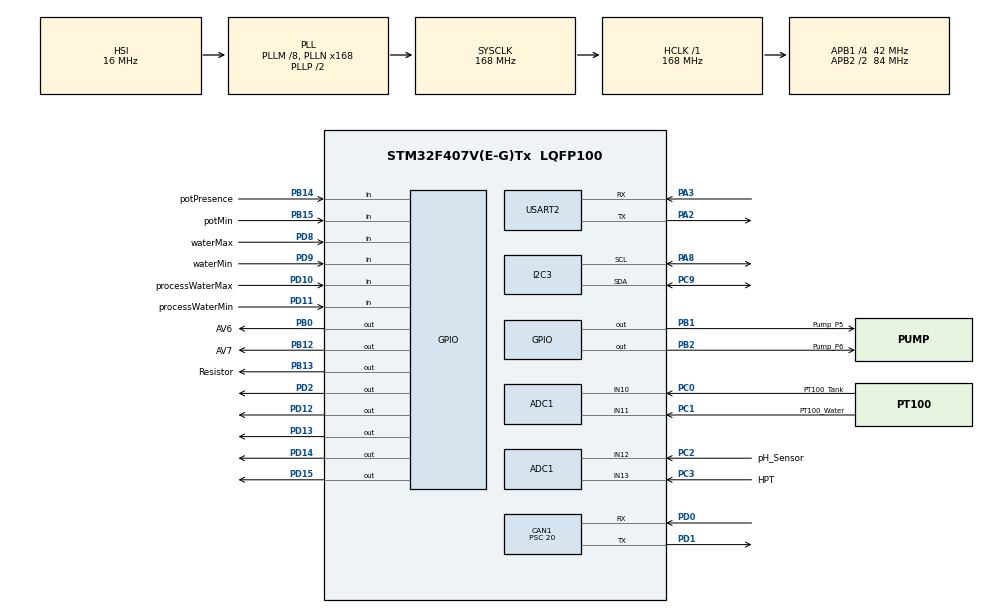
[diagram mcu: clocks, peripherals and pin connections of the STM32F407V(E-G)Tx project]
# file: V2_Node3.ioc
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ADC1.Channel-0\#ChannelRegularConversion=ADC_CHANNEL_10
ADC1.Channel-1\#ChannelRegularConversion=ADC_CHANNEL_11
ADC1.Channel-2\#ChannelRegularConversion=ADC_CHANNEL_12
ADC1.Channel-3\#ChannelRegularConversion=ADC_CHANNEL_13
ADC1.ContinuousConvMode=ENABLE
ADC1.DMAContinuousRequests=ENABLE
ADC1.EOCSelection=ADC_EOC_SEQ_CONV
ADC1.NbrOfConversion=4
ADC1.NbrOfConversionFlag=1
ADC1.Rank-0\#ChannelRegularConversion=1
ADC1.Rank-1\#ChannelRegularConversion=2
ADC1.Rank-2\#ChannelRegularConversion=3
ADC1.Rank-3\#ChannelRegularConversion=4
ADC1.SamplingTime-0\#ChannelRegularConversion=ADC_SAMPLETIME_3CYCLES
ADC1.SamplingTime-1\#ChannelRegularConversion=ADC_SAMPLETIME_3CYCLES
ADC1.SamplingTime-2\#ChannelRegularConversion=ADC_SAMPLETIME_3CYCLES
ADC1.SamplingTime-3\#ChannelRegularConversion=ADC_SAMPLETIME_3CYCLES
ADC1.master=1
CAN1.BS1=CAN_BS1_12TQ
CAN1.BS2=CAN_BS2_2TQ
CAN1.CalculateBaudRate=140000
CAN1.CalculateTimeBit=7142
CAN1.CalculateTimeQuantum=476.1904761904762
CAN1.Prescaler=20
Dma.ADC1.0.Direction=DMA_PERIPH_TO_MEMORY
Dma.ADC1.0.FIFOMode=DMA_FIFOMODE_DISABLE
Dma.ADC1.0.Instance=DMA2_Stream0
Dma.ADC1.0.MemDataAlignment=DMA_MDATAALIGN_HALFWORD
Dma.ADC1.0.MemInc=DMA_MINC_ENABLE
Dma.ADC1.0.Mode=DMA_CIRCULAR
Dma.ADC1.0.PeriphDataAlignment=DMA_PDATAALIGN_HALFWORD
Dma.ADC1.0.PeriphInc=DMA_PINC_DISABLE
Dma.ADC1.0.Priority=DMA_PRIORITY_LOW
Dma.Request0=ADC1
Mcu.Family=STM32F4
Mcu.Name=STM32F407V(E-G)Tx
Mcu.Package=LQFP100
NVIC.CAN1_RX0_IRQn=true\:0\:0\:false\:false\:true\:true\:true\:true
NVIC.DMA2_Stream0_IRQn=true\:0\:0\:false\:false\:true\:false\:true\:true
NVIC.PriorityGroup=NVIC_PRIORITYGROUP_4
NVIC.TIM6_DAC_IRQn=true\:0\:0\:false\:false\:true\:false\:true\:true
NVIC.TimeBase=TIM6_DAC_IRQn
NVIC.TimeBaseIP=TIM6
NVIC.USART2_IRQn=true\:0\:0\:false\:false\:true\:true\:true\:true
PA2.Mode=Asynchronous
PA2.Signal=USART2_TX
PA3.Mode=Asynchronous
PA3.Signal=USART2_RX
PA8.Mode=I2C
PA8.Signal=I2C3_SCL
PB0.GPIO_Label=AV6
PB0.Signal=GPIO_Output
PB1.GPIO_Label=Pump_P5
PB1.Signal=GPIO_Output
PB12.GPIO_Label=AV7
PB12.Signal=GPIO_Output
PB13.GPIO_Label=Resistor
PB13.Signal=GPIO_Output
PB14.GPIO_Label=potPresence
PB14.GPIO_PuPd=GPIO_PULLDOWN
PB14.Signal=GPIO_Input
PB15.GPIO_Label=potMin
PB15.GPIO_PuPd=GPIO_PULLDOWN
PB15.Signal=GPIO_Input
PB2.GPIO_Label=Pump_P6
PB2.Signal=GPIO_Output
PC0.GPIO_Label=PT100_Tank
PC0.Signal=ADCx_IN10
PC1.GPIO_Label=PT100_Water
PC1.Signal=ADCx_IN11
PC2.GPIO_Label=pH_Sensor
PC2.Signal=ADCx_IN12
PC3.GPIO_Label=HPT
PC3.Signal=ADCx_IN13
PC9.Mode=I2C
PC9.Signal=I2C3_SDA
PD0.Mode=CAN_Activate
PD0.Signal=CAN1_RX
PD1.Mode=CAN_Activate
PD1.Signal=CAN1_TX
PD10.GPIO_Label=processWaterMax
PD10.GPIO_PuPd=GPIO_PULLDOWN
PD10.Signal=GPIO_Input
PD11.GPIO_Label=processWaterMin
PD11.GPIO_PuPd=GPIO_PULLDOWN
PD11.Signal=GPIO_Input
PD12.Signal=GPIO_Output
PD13.Signal=GPIO_Output
PD14.Signal=GPIO_Output
PD15.Signal=GPIO_Output
PD2.Signal=GPIO_Output
PD8.GPIO_Label=waterMax
PD8.GPIO_PuPd=GPIO_PULLDOWN
PD8.Signal=GPIO_Input
PD9.GPIO_Label=waterMin
PD9.GPIO_PuPd=GPIO_PULLDOWN
PD9.Signal=GPIO_Input
PH0-OSC_IN.Mode=HSE-External-Oscillator
PH0-OSC_IN.Signal=RCC_OSC_IN
PH1-OSC_OUT.Mode=HSE-External-Oscillator
PH1-OSC_OUT.Signal=RCC_OSC_OUT
ProjectManager.HeapSize=0x200
ProjectManager.StackSize=0x400
ProjectManager.TargetToolchain=STM32CubeIDE
RCC.48MHZClocksFreq_Value=48000000
RCC.AHBFreq_Value=168000000
RCC.APB1CLKDivider=RCC_HCLK_DIV4
RCC.APB1Freq_Value=42000000
RCC.APB1TimFreq_Value=84000000
RCC.APB2CLKDivider=RCC_HCLK_DIV2
RCC.APB2Freq_Value=84000000
RCC.APB2TimFreq_Value=168000000
RCC.CortexFreq_Value=168000000
RCC.HCLKFreq_Value=168000000
RCC.HSE_VALUE=8000000
RCC.HSI_VALUE=16000000
RCC.LSE_VALUE=32768
RCC.PLLM=8
RCC.PLLN=168
RCC.PLLQ=7
RCC.SYSCLKFreq_VALUE=168000000
RCC.SYSCLKSource=RCC_SYSCLKSOURCE_PLLCLK
RCC.VCOOutputFreq_Value=336000000
SH.ADCx_IN10.0=ADC1_IN10,IN10
SH.ADCx_IN11.0=ADC1_IN11,IN11
SH.ADCx_IN12.0=ADC1_IN12,IN12
SH.ADCx_IN13.0=ADC1_IN13,IN13
USART2.VirtualMode=VM_ASYNC
VP_SYS_VS_tim6.Mode=TIM6
board=STM32F407G-DISC1

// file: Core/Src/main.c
/* USER CODE BEGIN Header */
/**
  ******************************************************************************
  * @file           : main.c
  * @brief          : Main program body
  ******************************************************************************
  * @attention
  *
  * Copyright (c) 2025 STMicroelectronics.
  * All rights reserved.
  *
  * This software is licensed under terms that can be found in the LICENSE file
  * in the root directory of this software component.
  * If no LICENSE file comes with this software, it is provided AS-IS.
  *
  ******************************************************************************
  */
/* USER CODE END Header */
#include "main.h"

/* USER CODE BEGIN Includes */
#include <stdio.h>
#include "system_config.h"
#include "system_tasks.h"
#include "FreeRTOS.h"
#include "task.h"
/* USER CODE END Includes */

/* USER CODE BEGIN PD */
extern QueueHandle_t canParserQueue;

/* USER CODE END PD */

ADC_HandleTypeDef hadc1;
DMA_HandleTypeDef hdma_adc1;

CAN_HandleTypeDef hcan1;

I2C_HandleTypeDef hi2c3;

UART_HandleTypeDef huart2;

void SystemClock_Config(void);
static void MX_GPIO_Init(void);
static void MX_DMA_Init(void);
static void MX_CAN1_Init(void);
static void MX_USART2_UART_Init(void);
static void MX_I2C3_Init(void);
static void MX_ADC1_Init(void);

int main(void)
{

  /* MCU Configuration--------------------------------------------------------*/

  /* Reset of all peripherals, Initializes the Flash interface and the Systick. */
  HAL_Init();

  /* Configure the system clock */
  SystemClock_Config();

  /* Initialize all configured peripherals */
  MX_GPIO_Init();
  MX_DMA_Init();
  MX_CAN1_Init();
  MX_USART2_UART_Init();
  MX_I2C3_Init();
  MX_ADC1_Init();
  /* USER CODE BEGIN 2 */
  // 1. Initialize data structure before starting tasks
  HAL_GPIO_WritePin(GPIOD, GPIO_PIN_2, GPIO_PIN_RESET);
  SYS_DATA_Init();

  // 2. Start Continuous ADC + DMA (fills adc_buffer)
  HAL_ADC_Start_DMA(&hadc1, (uint32_t *)adc_buffer, NUM_ADC_CHANNELS);

  // 3. Create FreeRTOS Queues
  //(The handle 'canParserQueue' is defined in system_tasks.c)
  canParserQueue = xQueueCreate(3, 1024);
  configASSERT(canParserQueue != NULL);

  // 4. Create FreeRTOS Tasks
  xTaskCreate(SensorAcquisitionTask, "SensorAcq", 256, NULL, 2, &SensorHandle);
  xTaskCreate(ControlLogicTask, "FSM Control", 256, NULL, 2, &ControlHandle);
  xTaskCreate(CANParserTask, "CANParser", 256, NULL, 3, NULL);
  xTaskCreate(CommunicationTask, "Logging Data", 256, NULL, 1, &CommHandle);

  // 5. Start the scheduler
  vTaskStartScheduler();

  /* USER CODE END 2 */

  /* Infinite loop */
  while (1)
  {

  }
}

void SystemClock_Config(void)
{
  RCC_OscInitTypeDef RCC_OscInitStruct = {0};
  RCC_ClkInitTypeDef RCC_ClkInitStruct = {0};

  /** Configure the main internal regulator output voltage
  */
  __HAL_RCC_PWR_CLK_ENABLE();
  __HAL_PWR_VOLTAGESCALING_CONFIG(PWR_REGULATOR_VOLTAGE_SCALE1);

  /** Initializes the RCC Oscillators according to the specified parameters
  * in the RCC_OscInitTypeDef structure.
  */
  RCC_OscInitStruct.OscillatorType = RCC_OSCILLATORTYPE_HSI;
  RCC_OscInitStruct.HSIState = RCC_HSI_ON;
  RCC_OscInitStruct.HSICalibrationValue = RCC_HSICALIBRATION_DEFAULT;
  RCC_OscInitStruct.PLL.PLLState = RCC_PLL_ON;
  RCC_OscInitStruct.PLL.PLLSource = RCC_PLLSOURCE_HSI;
  RCC_OscInitStruct.PLL.PLLM = 8;
  RCC_OscInitStruct.PLL.PLLN = 168;
  RCC_OscInitStruct.PLL.PLLP = RCC_PLLP_DIV2;
  RCC_OscInitStruct.PLL.PLLQ = 7;
  if (HAL_RCC_OscConfig(&RCC_OscInitStruct) != HAL_OK)
  {
    Error_Handler();
  }

  /** Initializes the CPU, AHB and APB buses clocks
  */
  RCC_ClkInitStruct.ClockType = RCC_CLOCKTYPE_HCLK|RCC_CLOCKTYPE_SYSCLK
                              |RCC_CLOCKTYPE_PCLK1|RCC_CLOCKTYPE_PCLK2;
  RCC_ClkInitStruct.SYSCLKSource = RCC_SYSCLKSOURCE_PLLCLK;
  RCC_ClkInitStruct.AHBCLKDivider = RCC_SYSCLK_DIV1;
  RCC_ClkInitStruct.APB1CLKDivider = RCC_HCLK_DIV4;
  RCC_ClkInitStruct.APB2CLKDivider = RCC_HCLK_DIV2;

  if (HAL_RCC_ClockConfig(&RCC_ClkInitStruct, FLASH_LATENCY_5) != HAL_OK)
  {
    Error_Handler();
  }
}

static void MX_ADC1_Init(void)
{

  ADC_ChannelConfTypeDef sConfig = {0};

  /** Configure the global features of the ADC (Clock, Resolution, Data Alignment and number of conversion)
  */
  hadc1.Instance = ADC1;
  hadc1.Init.ClockPrescaler = ADC_CLOCK_SYNC_PCLK_DIV4;
  hadc1.Init.Resolution = ADC_RESOLUTION_12B;
  hadc1.Init.ScanConvMode = ENABLE;
  hadc1.Init.ContinuousConvMode = ENABLE;
  hadc1.Init.DiscontinuousConvMode = DISABLE;
  hadc1.Init.ExternalTrigConvEdge = ADC_EXTERNALTRIGCONVEDGE_NONE;
  hadc1.Init.ExternalTrigConv = ADC_SOFTWARE_START;
  hadc1.Init.DataAlign = ADC_DATAALIGN_RIGHT;
  hadc1.Init.NbrOfConversion = 4;
  hadc1.Init.DMAContinuousRequests = ENABLE;
  hadc1.Init.EOCSelection = ADC_EOC_SEQ_CONV;
  if (HAL_ADC_Init(&hadc1) != HAL_OK)
  {
    Error_Handler();
  }

  /** Configure for the selected ADC regular channel its corresponding rank in the sequencer and its sample time.
  */
  sConfig.Channel = ADC_CHANNEL_10;
  sConfig.Rank = 1;
  sConfig.SamplingTime = ADC_SAMPLETIME_3CYCLES;
  if (HAL_ADC_ConfigChannel(&hadc1, &sConfig) != HAL_OK)
  {
    Error_Handler();
  }

  /** Configure for the selected ADC regular channel its corresponding rank in the sequencer and its sample time.
  */
  sConfig.Channel = ADC_CHANNEL_11;
  sConfig.Rank = 2;
  if (HAL_ADC_ConfigChannel(&hadc1, &sConfig) != HAL_OK)
  {
    Error_Handler();
  }

  /** Configure for the selected ADC regular channel its corresponding rank in the sequencer and its sample time.
  */
  sConfig.Channel = ADC_CHANNEL_12;
  sConfig.Rank = 3;
  if (HAL_ADC_ConfigChannel(&hadc1, &sConfig) != HAL_OK)
  {
    Error_Handler();
  }

  /** Configure for the selected ADC regular channel its corresponding rank in the sequencer and its sample time.
  */
  sConfig.Channel = ADC_CHANNEL_13;
  sConfig.Rank = 4;
  if (HAL_ADC_ConfigChannel(&hadc1, &sConfig) != HAL_OK)
  {
    Error_Handler();
  }

}

static void MX_CAN1_Init(void)
{

  hcan1.Instance = CAN1;
  hcan1.Init.Prescaler = 20;
  hcan1.Init.Mode = CAN_MODE_NORMAL;
  hcan1.Init.SyncJumpWidth = CAN_SJW_1TQ;
  hcan1.Init.TimeSeg1 = CAN_BS1_12TQ;
  hcan1.Init.TimeSeg2 = CAN_BS2_2TQ;
  hcan1.Init.TimeTriggeredMode = DISABLE;
  hcan1.Init.AutoBusOff = DISABLE;
  hcan1.Init.AutoWakeUp = DISABLE;
  hcan1.Init.AutoRetransmission = DISABLE;
  hcan1.Init.ReceiveFifoLocked = DISABLE;
  hcan1.Init.TransmitFifoPriority = DISABLE;
  if (HAL_CAN_Init(&hcan1) != HAL_OK)
  {
    Error_Handler();
  }
  /* USER CODE BEGIN CAN1_Init 2 */
  CAN_FilterTypeDef canfilterconfig;

  canfilterconfig.FilterActivation = CAN_FILTER_ENABLE;
  canfilterconfig.FilterBank = 0;
  canfilterconfig.FilterFIFOAssignment = CAN_RX_FIFO0;
  canfilterconfig.FilterIdHigh = 0x446<<5;
  canfilterconfig.FilterIdLow = 0x0000;
  canfilterconfig.FilterMaskIdHigh = 0x7FF<<5;
  canfilterconfig.FilterMaskIdLow = 0x0000;
  canfilterconfig.FilterMode = CAN_FILTERMODE_IDMASK;
  canfilterconfig.FilterScale = CAN_FILTERSCALE_32BIT;

  HAL_CAN_ConfigFilter(&hcan1, &canfilterconfig);
  /* USER CODE END CAN1_Init 2 */

}

static void MX_I2C3_Init(void)
{

  hi2c3.Instance = I2C3;
  hi2c3.Init.ClockSpeed = 100000;
  hi2c3.Init.DutyCycle = I2C_DUTYCYCLE_2;
  hi2c3.Init.OwnAddress1 = 0;
  hi2c3.Init.AddressingMode = I2C_ADDRESSINGMODE_7BIT;
  hi2c3.Init.DualAddressMode = I2C_DUALADDRESS_DISABLE;
  hi2c3.Init.OwnAddress2 = 0;
  hi2c3.Init.GeneralCallMode = I2C_GENERALCALL_DISABLE;
  hi2c3.Init.NoStretchMode = I2C_NOSTRETCH_DISABLE;
  if (HAL_I2C_Init(&hi2c3) != HAL_OK)
  {
    Error_Handler();
  }

}

static void MX_USART2_UART_Init(void)
{

  huart2.Instance = USART2;
  huart2.Init.BaudRate = 115200;
  huart2.Init.WordLength = UART_WORDLENGTH_8B;
  huart2.Init.StopBits = UART_STOPBITS_1;
  huart2.Init.Parity = UART_PARITY_NONE;
  huart2.Init.Mode = UART_MODE_TX_RX;
  huart2.Init.HwFlowCtl = UART_HWCONTROL_NONE;
  huart2.Init.OverSampling = UART_OVERSAMPLING_16;
  if (HAL_UART_Init(&huart2) != HAL_OK)
  {
    Error_Handler();
  }

}

static void MX_DMA_Init(void)
{

  /* DMA controller clock enable */
  __HAL_RCC_DMA2_CLK_ENABLE();

  /* DMA interrupt init */
  /* DMA2_Stream0_IRQn interrupt configuration */
  HAL_NVIC_SetPriority(DMA2_Stream0_IRQn, 0, 0);
  HAL_NVIC_EnableIRQ(DMA2_Stream0_IRQn);

}

static void MX_GPIO_Init(void)
{
  GPIO_InitTypeDef GPIO_InitStruct = {0};

  /* GPIO Ports Clock Enable */
  __HAL_RCC_GPIOH_CLK_ENABLE();
  __HAL_RCC_GPIOC_CLK_ENABLE();
  __HAL_RCC_GPIOA_CLK_ENABLE();
  __HAL_RCC_GPIOB_CLK_ENABLE();
  __HAL_RCC_GPIOD_CLK_ENABLE();

  /*Configure GPIO pin Output Level */
  HAL_GPIO_WritePin(GPIOB, AV6_Pin|Pump_P5_Pin|Pump_P6_Pin|AV7_Pin
                          |Resistor_Pin, GPIO_PIN_RESET);

  /*Configure GPIO pin Output Level */
  HAL_GPIO_WritePin(GPIOD, GPIO_PIN_12|GPIO_PIN_13|GPIO_PIN_14|GPIO_PIN_15
                          |GPIO_PIN_2, GPIO_PIN_RESET);

  /*Configure GPIO pins : AV6_Pin Pump_P5_Pin Pump_P6_Pin AV7_Pin
                           Resistor_Pin */
  GPIO_InitStruct.Pin = AV6_Pin|Pump_P5_Pin|Pump_P6_Pin|AV7_Pin
                          |Resistor_Pin;
  GPIO_InitStruct.Mode = GPIO_MODE_OUTPUT_PP;
  GPIO_InitStruct.Pull = GPIO_NOPULL;
  GPIO_InitStruct.Speed = GPIO_SPEED_FREQ_LOW;
  HAL_GPIO_Init(GPIOB, &GPIO_InitStruct);

  /*Configure GPIO pins : potPresence_Pin potMin_Pin */
  GPIO_InitStruct.Pin = potPresence_Pin|potMin_Pin;
  GPIO_InitStruct.Mode = GPIO_MODE_INPUT;
  GPIO_InitStruct.Pull = GPIO_PULLDOWN;
  HAL_GPIO_Init(GPIOB, &GPIO_InitStruct);

  /*Configure GPIO pins : waterMax_Pin waterMin_Pin processWaterMax_Pin processWaterMin_Pin */
  GPIO_InitStruct.Pin = waterMax_Pin|waterMin_Pin|processWaterMax_Pin|processWaterMin_Pin;
  GPIO_InitStruct.Mode = GPIO_MODE_INPUT;
  GPIO_InitStruct.Pull = GPIO_PULLDOWN;
  HAL_GPIO_Init(GPIOD, &GPIO_InitStruct);

  /*Configure GPIO pins : PD12 PD13 PD14 PD15
                           PD2 */
  GPIO_InitStruct.Pin = GPIO_PIN_12|GPIO_PIN_13|GPIO_PIN_14|GPIO_PIN_15
                          |GPIO_PIN_2;
  GPIO_InitStruct.Mode = GPIO_MODE_OUTPUT_PP;
  GPIO_InitStruct.Pull = GPIO_NOPULL;
  GPIO_InitStruct.Speed = GPIO_SPEED_FREQ_LOW;
  HAL_GPIO_Init(GPIOD, &GPIO_InitStruct);

}

/* USER CODE BEGIN 4 */
int _write(int file, char *ptr, int len)
{
  (void)file;
  int DataIdx;

  for (DataIdx = 0; DataIdx < len; DataIdx++)
  {
   ITM_SendChar(*ptr++);
  }
  return len;
}

/* USER CODE END 4 */

void HAL_TIM_PeriodElapsedCallback(TIM_HandleTypeDef *htim)
{
  if (htim->Instance == TIM6) {
    HAL_IncTick();
  }
}

void Error_Handler(void)
{
  __disable_irq();
  while (1)
  {
  }
}
